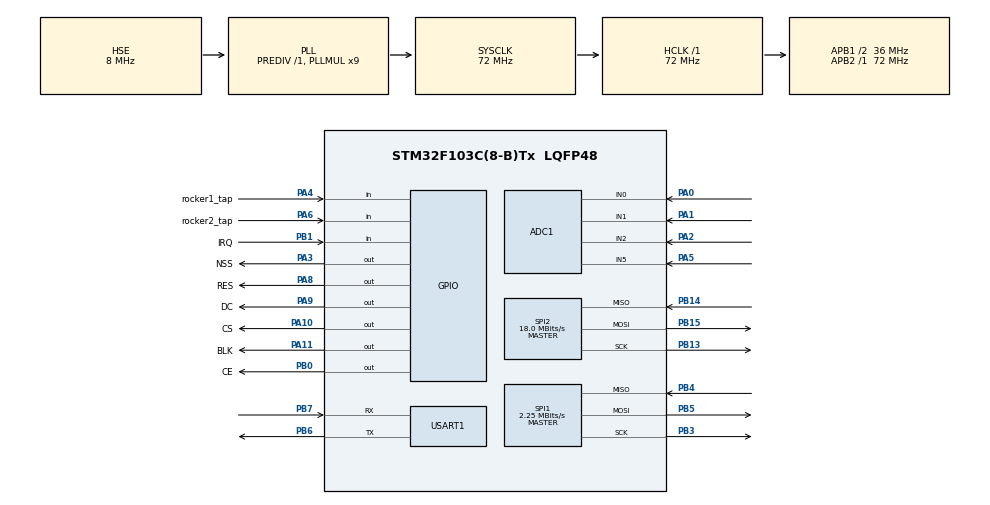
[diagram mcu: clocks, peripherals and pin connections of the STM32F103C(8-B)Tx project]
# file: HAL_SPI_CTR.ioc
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ADC1.Channel-0\#ChannelRegularConversion=ADC_CHANNEL_0
ADC1.Channel-1\#ChannelRegularConversion=ADC_CHANNEL_1
ADC1.Channel-4\#ChannelRegularConversion=ADC_CHANNEL_2
ADC1.Channel-5\#ChannelRegularConversion=ADC_CHANNEL_5
ADC1.DataAlign=ADC_DATAALIGN_RIGHT
ADC1.NbrOfConversion=4
ADC1.NbrOfConversionFlag=1
ADC1.Rank-0\#ChannelRegularConversion=1
ADC1.Rank-1\#ChannelRegularConversion=2
ADC1.Rank-4\#ChannelRegularConversion=3
ADC1.Rank-5\#ChannelRegularConversion=4
ADC1.SamplingTime-0\#ChannelRegularConversion=ADC_SAMPLETIME_13CYCLES_5
ADC1.SamplingTime-1\#ChannelRegularConversion=ADC_SAMPLETIME_13CYCLES_5
ADC1.SamplingTime-4\#ChannelRegularConversion=ADC_SAMPLETIME_13CYCLES_5
ADC1.SamplingTime-5\#ChannelRegularConversion=ADC_SAMPLETIME_13CYCLES_5
ADC1.master=1
Dma.ADC1.0.Direction=DMA_PERIPH_TO_MEMORY
Dma.ADC1.0.Instance=DMA1_Channel1
Dma.ADC1.0.MemDataAlignment=DMA_MDATAALIGN_HALFWORD
Dma.ADC1.0.MemInc=DMA_MINC_ENABLE
Dma.ADC1.0.Mode=DMA_NORMAL
Dma.ADC1.0.PeriphDataAlignment=DMA_PDATAALIGN_HALFWORD
Dma.ADC1.0.PeriphInc=DMA_PINC_DISABLE
Dma.ADC1.0.Priority=DMA_PRIORITY_LOW
Dma.Request0=ADC1
Mcu.Family=STM32F1
Mcu.Name=STM32F103C(8-B)Tx
Mcu.Package=LQFP48
NVIC.DMA1_Channel1_IRQn=true\:0\:0\:false\:false\:true\:false\:true\:true
NVIC.PriorityGroup=NVIC_PRIORITYGROUP_4
NVIC.RCC_IRQn=true\:0\:0\:false\:false\:true\:true\:false\:true
NVIC.SPI1_IRQn=true\:0\:0\:false\:false\:true\:true\:true\:true
NVIC.SPI2_IRQn=true\:0\:0\:false\:false\:true\:true\:true\:true
NVIC.TIM1_BRK_IRQn=true\:0\:0\:false\:false\:true\:true\:true\:true
NVIC.TIM1_UP_IRQn=true\:0\:0\:false\:false\:true\:true\:true\:true
NVIC.TIM2_IRQn=true\:0\:0\:false\:false\:true\:true\:true\:true
PA0-WKUP.Signal=ADCx_IN0
PA1.Signal=ADCx_IN1
PA10.GPIO_Label=CS
PA10.Signal=GPIO_Output
PA11.GPIO_Label=BLK
PA11.Signal=GPIO_Output
PA13.Mode=Serial_Wire
PA13.Signal=SYS_JTMS-SWDIO
PA14.Mode=Serial_Wire
PA14.Signal=SYS_JTCK-SWCLK
PA2.Signal=ADCx_IN2
PA3.GPIO_Label=NSS
PA3.Signal=GPIO_Output
PA4.GPIO_Label=rocker1_tap
PA4.Signal=GPIO_Input
PA5.Signal=ADCx_IN5
PA6.GPIO_Label=rocker2_tap
PA6.Signal=GPIO_Input
PA8.GPIO_Label=RES
PA8.Signal=GPIO_Output
PA9.GPIO_Label=DC
PA9.Signal=GPIO_Output
PB0.GPIO_Label=CE
PB0.Signal=GPIO_Output
PB1.GPIO_Label=IRQ
PB1.GPIO_PuPd=GPIO_PULLUP
PB1.Signal=GPIO_Input
PB13.Mode=Full_Duplex_Master
PB13.Signal=SPI2_SCK
PB14.Mode=Full_Duplex_Master
PB14.Signal=SPI2_MISO
PB15.Mode=Full_Duplex_Master
PB15.Signal=SPI2_MOSI
PB3.Mode=Full_Duplex_Master
PB3.Signal=SPI1_SCK
PB4.Mode=Full_Duplex_Master
PB4.Signal=SPI1_MISO
PB5.Mode=Full_Duplex_Master
PB5.Signal=SPI1_MOSI
PB6.Mode=Asynchronous
PB6.Signal=USART1_TX
PB7.Mode=Asynchronous
PB7.Signal=USART1_RX
PD0-OSC_IN.Mode=HSE-External-Oscillator
PD0-OSC_IN.Signal=RCC_OSC_IN
PD1-OSC_OUT.Mode=HSE-External-Oscillator
PD1-OSC_OUT.Signal=RCC_OSC_OUT
ProjectManager.HeapSize=0x200
ProjectManager.StackSize=0x400
ProjectManager.TargetToolchain=MDK-ARM V5.32
RCC.ADCPresc=RCC_ADCPCLK2_DIV6
RCC.AHBFreq_Value=72000000
RCC.APB1CLKDivider=RCC_HCLK_DIV2
RCC.APB1Freq_Value=36000000
RCC.APB1TimFreq_Value=72000000
RCC.APB2Freq_Value=72000000
RCC.APB2TimFreq_Value=72000000
RCC.HCLKFreq_Value=72000000
RCC.PLLMUL=RCC_PLL_MUL9
RCC.PLLSourceVirtual=RCC_PLLSOURCE_HSE
RCC.SYSCLKFreq_VALUE=72000000
RCC.SYSCLKSource=RCC_SYSCLKSOURCE_PLLCLK
RCC.USBFreq_Value=72000000
SH.ADCx_IN0.0=ADC1_IN0,IN0
SH.ADCx_IN1.0=ADC1_IN1,IN1
SH.ADCx_IN2.0=ADC1_IN2,IN2
SH.ADCx_IN5.0=ADC1_IN5,IN5
SPI1.BaudRatePrescaler=SPI_BAUDRATEPRESCALER_32
SPI1.CRCCalculation=SPI_CRCCALCULATION_DISABLE
SPI1.CalculateBaudRate=2.25 MBits/s
SPI1.Direction=SPI_DIRECTION_2LINES
SPI1.Mode=SPI_MODE_MASTER
SPI1.VirtualType=VM_MASTER
SPI2.BaudRatePrescaler=SPI_BAUDRATEPRESCALER_2
SPI2.CalculateBaudRate=18.0 MBits/s
SPI2.Direction=SPI_DIRECTION_2LINES
SPI2.Mode=SPI_MODE_MASTER
SPI2.VirtualType=VM_MASTER
TIM1.Period=1000-1
TIM1.Prescaler=72-1
TIM2.Period=2000-1
TIM2.Prescaler=72-1
USART1.VirtualMode=VM_ASYNC
VP_TIM1_VS_ClockSourceINT.Mode=Internal
VP_TIM2_VS_ClockSourceINT.Mode=Internal
board=custom

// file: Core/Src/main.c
/* USER CODE BEGIN Header */
/**
 ******************************************************************************
 * @file           : main.c
 * @brief          : Main program body
 ******************************************************************************
 * @attention
 *
 * Copyright (c) 2023 STMicroelectronics.
 * All rights reserved.
 *
 * This software is licensed under terms that can be found in the LICENSE file
 * in the root directory of this software component.
 * If no LICENSE file comes with this software, it is provided AS-IS.
 *
 ******************************************************************************
 */
/* USER CODE END Header */
#include "main.h"
#include "adc.h"
#include "dma.h"
#include "spi.h"
#include "tim.h"
#include "usart.h"
#include "gpio.h"

/* USER CODE BEGIN Includes */
#include "drv_RF24L01.h"
#include "drv_spi.h"
#include "debug.h"
#include "string.h"
#include "lcd.h"
#include "remote_control.h"
/* USER CODE END Includes */

void SystemClock_Config(void);

/* USER CODE BEGIN 0 */
uint8_t a = 0;
uint8_t b = 0;
uint8_t count = 0;
uint8_t re[32];

extern Value_True_t Value_True;
/* USER CODE END 0 */

int main(void)
{

  /* MCU Configuration--------------------------------------------------------*/

  /* Reset of all peripherals, Initializes the Flash interface and the Systick. */
  HAL_Init();

  /* Configure the system clock */
  SystemClock_Config();

  /* Initialize all configured peripherals */
  MX_GPIO_Init();
  MX_DMA_Init();
  MX_SPI1_Init();
  MX_TIM2_Init();
  MX_ADC1_Init();
  MX_SPI2_Init();
  MX_TIM1_Init();
  MX_USART1_UART_Init();
  /* USER CODE BEGIN 2 */
  HAL_TIM_Base_Start_IT(&htim1);
  HAL_TIM_Base_Start_IT(&htim2);

  //TFT_LCD_Init();
  LCD_Init(&LCD_bus_2);

  RF24L01_Port_Init();
  // HAL_GPIO_WritePin(GPIOA,GPIO_PIN_3,GPIO_PIN_RESET);
  // NRF24L01_Read_Status_Register(&NRF24L01_rtx);
  RF24L01_Init(&NRF24L01_rtx);
  // NRF24L01_Set_Speed(&NRF24L01_rtx,SPEED_1M);
  NRF24L01_Set_Power(&NRF24L01_rtx, PWR_18DB);

  NRF24L01_Write_Reg(&NRF24L01_rtx, RF_SETUP, 0x06);
  // NRF24L01_Write_Reg(&NRF24L01_rtx, CONFIG,0x02 );
  //  RF24L01_SET_CE_HIGH( );
  //  HAL_Delay(1100);
  RF24L01_Set_Mode(&NRF24L01_rtx, MODE_TX);
//  for (uint8_t i = 0; i < 32; i++)
//  {
//    NRF24L01_bus.TxPacket.Txbuffer[i] = i;
//  }
  NRF24L01_bus.TxPacket.Txlength = 32;

  //  NRF24L01_bus.TxPacket.Txbuffer[2]=123;
  //  NRF24L01_bus.TxPacket.Txbuffer[3]=121;
  //  NRF24L01_bus.TxPacket.Txbuffer[5]=13;

Value_True.num_u16=1;
	memcpy(Value_True.Value_True_u16[0].name,"test",4);
	Value_True.Value_True_u16[0].value=42;
  /* USER CODE END 2 */

  /* Infinite loop */
  while (1)
  {

    /* USER CODE BEGIN 3 */
    ShowValue();
    // NRF24L01_check(&NRF24L01_rtx);
    // HAL_Delay(10);
    // LCD_Fill(&LCD_bus_2,0,0,LCD_W,LCD_H,RED);
	  HAL_UART_Transmit(&huart1,NRF24L01_bus.TxPacket.Txbuffer , 18, 1000);
Send_control_message(NRF24L01_rtx,NRF24L01_bus);
    count++;
    //NRF24L01_bus.TxPacket.Txbuffer[1] = count;
	  b++;

	  	//LCD_ShowString(&LCD_bus_2, 1, 1, "NAME", BLACK, WHITE, 12, 0);
//	LCD_ShowString(&LCD_bus_2, 1, 6, "ID", BLACK, WHITE, 12, 0);
//	LCD_ShowString(&LCD_bus_2, 1, 10, "VALUE", BLACK, WHITE, 12, 0);
    //	  	  RF24L01_Set_Mode(&NRF24L01_rtx, MODE_TX);
    //	  NRF24L01_TxPacket(&NRF24L01_rtx, &NRF24L01_bus);
    // NRF24L01_RxPacket(&NRF24L01_rtx, &NRF24L01_bus);
//    ReceivePacket_fn(&Value_True);
//    if (NRF24L01_bus.RxPacket.Rxbuffer[0] == 0x11)
//    {
//      a = 1;
//      RF24L01_Set_Mode(&NRF24L01_rtx, MODE_TX);
//      for (uint16_t i = 0; i < 500; i++)
//      {
//        NRF24L01_TxPacket(&NRF24L01_rtx, &NRF24L01_bus);
//      }
//      NRF24L01_bus.TxPacket.Txbuffer[31] = 0x11;
//      for (uint16_t i = 0; i < 10; i++)
//      {
//        NRF24L01_TxPacket(&NRF24L01_rtx, &NRF24L01_bus);
//      }
//      NRF24L01_bus.TxPacket.Txbuffer[31] = 0x0;
//      RF24L01_Set_Mode(&NRF24L01_rtx, MODE_RX);
//      NRF24L01_bus.RxPacket.Rxbuffer[0] = 0x0;
//      a = 0;
//    }
    // memcpy(NRF24L01_bus.TxPacket.Txbuffer,re,PACKET_MAX);
    // a = NRF24L01_Read_Reg(&NRF24L01_rtx, CONFIG);
    //    b =NRF24L01_bus.RxPacket.Rxbuffer[1];
  }
  /* USER CODE END 3 */
}

void SystemClock_Config(void)
{
  RCC_OscInitTypeDef RCC_OscInitStruct = {0};
  RCC_ClkInitTypeDef RCC_ClkInitStruct = {0};
  RCC_PeriphCLKInitTypeDef PeriphClkInit = {0};

  /** Initializes the RCC Oscillators according to the specified parameters
  * in the RCC_OscInitTypeDef structure.
  */
  RCC_OscInitStruct.OscillatorType = RCC_OSCILLATORTYPE_HSE;
  RCC_OscInitStruct.HSEState = RCC_HSE_ON;
  RCC_OscInitStruct.HSEPredivValue = RCC_HSE_PREDIV_DIV1;
  RCC_OscInitStruct.HSIState = RCC_HSI_ON;
  RCC_OscInitStruct.PLL.PLLState = RCC_PLL_ON;
  RCC_OscInitStruct.PLL.PLLSource = RCC_PLLSOURCE_HSE;
  RCC_OscInitStruct.PLL.PLLMUL = RCC_PLL_MUL9;
  if (HAL_RCC_OscConfig(&RCC_OscInitStruct) != HAL_OK)
  {
    Error_Handler();
  }

  /** Initializes the CPU, AHB and APB buses clocks
  */
  RCC_ClkInitStruct.ClockType = RCC_CLOCKTYPE_HCLK|RCC_CLOCKTYPE_SYSCLK
                              |RCC_CLOCKTYPE_PCLK1|RCC_CLOCKTYPE_PCLK2;
  RCC_ClkInitStruct.SYSCLKSource = RCC_SYSCLKSOURCE_PLLCLK;
  RCC_ClkInitStruct.AHBCLKDivider = RCC_SYSCLK_DIV1;
  RCC_ClkInitStruct.APB1CLKDivider = RCC_HCLK_DIV2;
  RCC_ClkInitStruct.APB2CLKDivider = RCC_HCLK_DIV1;

  if (HAL_RCC_ClockConfig(&RCC_ClkInitStruct, FLASH_LATENCY_2) != HAL_OK)
  {
    Error_Handler();
  }
  PeriphClkInit.PeriphClockSelection = RCC_PERIPHCLK_ADC;
  PeriphClkInit.AdcClockSelection = RCC_ADCPCLK2_DIV6;
  if (HAL_RCCEx_PeriphCLKConfig(&PeriphClkInit) != HAL_OK)
  {
    Error_Handler();
  }
}

/* USER CODE BEGIN 4 */

void HAL_TIM_PeriodElapsedCallback(TIM_HandleTypeDef *htim)
{

  if (htim == (&htim1))
  {
    HAL_ADC_Start_DMA(&hadc1, (uint32_t *)&ADC_Value, 40);
    ADC1_Value_average();
    // NRF_Intercommunication( NRF24L01_rtx, NRF24L01_bus );
  }

  if (htim == (&htim2))
  {
	 // a++;

    // NRF_Intercommunication( NRF24L01_rtx, NRF24L01_bus );
  }
}
/* USER CODE END 4 */

void Error_Handler(void)
{
  __disable_irq();
  while (1)
  {
  }
}
